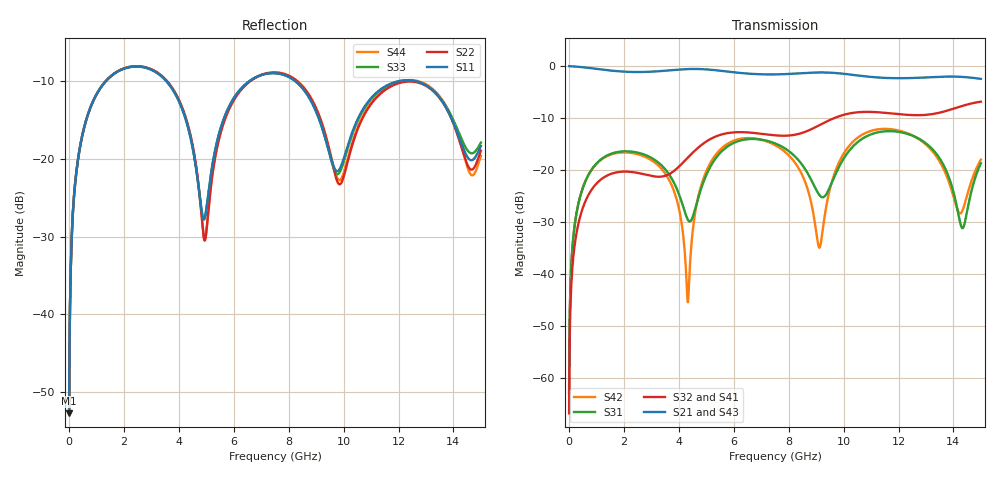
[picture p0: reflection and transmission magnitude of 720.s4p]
! Created with skrf 1.8.0 (http://scikit-rf.org).
# GHz S RI R 50.0
!freq ReS11 ImS11 ReS12 ImS12 ReS13 ImS13
! ReS14 ImS14
! ReS21 ImS21 ReS22 ImS22 ReS23 ImS23
! ReS24 ImS24
! ReS31 ImS31 ReS32 ImS32 ReS33 ImS33
! ReS34 ImS34
! ReS41 ImS41 ReS42 ImS42 ReS43 ImS43
! ReS44 ImS44
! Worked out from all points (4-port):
!   2499 points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, 5 MHz to 15 GHz, reference 50 ohm
!   strongest paths, dB at 5 MHz, 3.476 GHz, 7.19 GHz, 11.1 GHz, 15 GHz:
!     S21: 0.0, -0.9, -1.6, -2.1, -2.5
!     S43: 0.0, -0.9, -1.6, -2.1, -2.5
!     S32: -66.8, -21.2, -13.2, -8.8, -6.8
!     S41: -66.8, -21.2, -13.2, -8.9, -6.8
!     S31: -62.9, -19.7, -14.4, -13.0, -18.7
!     S42: -62.9, -20.5, -14.5, -12.3, -18.0
!   lowest |S11| = -52.8 dB at 5 MHz (marker M1), VSWR 1.00, Z = 50.2 + j0.139 ohm
!   |S11| at or under -10 dB: 3.558 GHz to 6.555 GHz (2.997 GHz wide, 59.3 % of centre); 8.252 GHz to 11.95 GHz (3.696 GHz wide, 36.6 % of centre); 12.67 GHz to end of sweep (the widest 3 of 4)
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0.005  0.00182 0.00139  0.9981 -0.00355  9.17e-05 0.000707  -8.9e-05 -0.000446
       0.9981 -0.00355  0.00182 0.00139  -8.9e-05 -0.000446  9.15e-05 0.000707
       9.17e-05 0.000707  -8.9e-05 -0.000446  0.00182 0.00139  0.9981 -0.00355
       -8.9e-05 -0.000446  9.15e-05 0.000707  0.9981 -0.00355  0.00182 0.00139
0.3626511  0.0361 0.1027  0.95 -0.2525  0.0174 0.0468  -0.0142 -0.0288
           0.95 -0.2525  0.0363 0.1027  -0.0142 -0.0288  0.0167 0.047
           0.0174 0.0468  -0.0142 -0.0288  0.0361 0.1027  0.95 -0.2525
           -0.0142 -0.0288  0.0167 0.047  0.95 -0.2525  0.0363 0.1027
1.825761  0.3489 0.125  0.3402 -0.8231  0.1485 0.0192  -0.0918 0.0267
          0.3402 -0.8231  0.3514 0.1221  -0.0919 0.0268  0.1428 0.0333
          0.1485 0.0192  -0.0919 0.0268  0.3489 0.1251  0.3402 -0.8231
          -0.0918 0.0267  0.1428 0.0333  0.3402 -0.8231  0.3515 0.1221
4.333055  0.0903 -0.1327  -0.8376 -0.4163  -0.0285 -0.0167  -0.0552 0.1198
          -0.8376 -0.4163  0.0827 -0.1426  -0.0544 0.1202  0.0049 0.00221
          -0.0285 -0.0167  -0.0544 0.1202  0.0901 -0.1327  -0.8376 -0.4162
          -0.0552 0.1198  0.0049 0.00221  -0.8376 -0.4162  0.0828 -0.1425
7.4406  0.3577 -0.00692  -0.0871 0.8265  0.1665 -0.0759  0.2101 -0.0479
        -0.0871 0.8265  0.3606 -0.00555  0.2104 -0.0503  0.1671 -0.0582
        0.1665 -0.0759  0.2104 -0.0503  0.3581 -0.00655  -0.0869 0.8262
        0.2101 -0.0479  0.1671 -0.0582  -0.0869 0.8262  0.3621 -0.0059
10.16048  0.1086 0.0589  0.8326 -0.0431  0.0321 0.1445  -0.0385 -0.3445
          0.8326 -0.0431  0.0861 0.046  -0.0422 -0.3452  0.0664 0.1511
          0.0321 0.1445  -0.0422 -0.3452  0.1036 0.0587  0.8325 -0.0434
          -0.0385 -0.3445  0.0664 0.1511  0.8325 -0.0434  0.0916 0.0459
15  0.1151 0.0379  -0.7484 -0.0869  0.0459 0.1068  -0.0342 0.454
    -0.7484 -0.0869  0.1008 0.0513  -0.023 0.4539  0.02 0.1243
    0.0459 0.1068  -0.023 0.4539  0.1231 0.0334  -0.7484 -0.0874
    -0.0342 0.454  0.02 0.1243  -0.7484 -0.0874  0.0939 0.047
